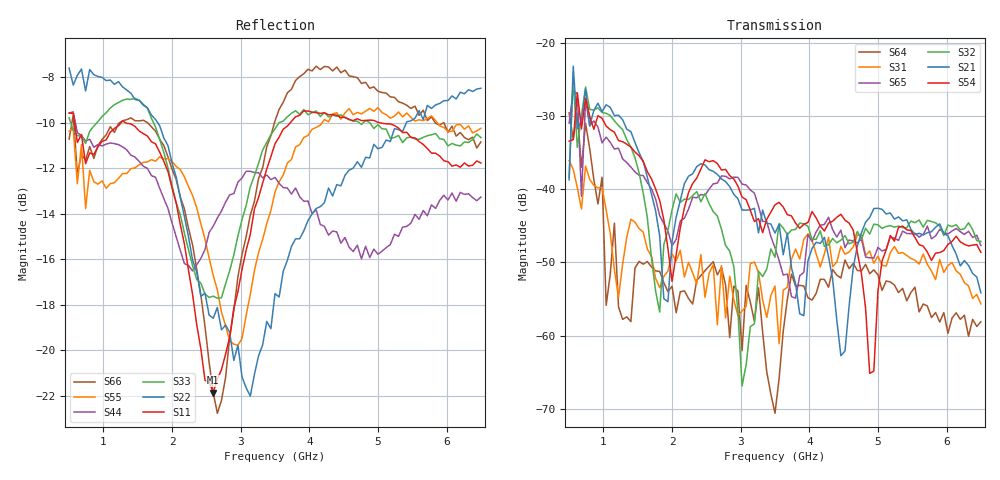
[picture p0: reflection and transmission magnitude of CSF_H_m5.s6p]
!Keysight Technologies,M9804A,MY58100912,A.14.10.03
!Date: Thursday, April 27, 2023 10:28:33
!Correction: S11(C  6-Port  )
!S12(C  6-Port  )
!S13(C  6-Port  )
!S14(C  6-Port  )
!S15(C  6-Port  )
!S16(C  6-Port  )
!S21(C  6-Port  )
!S22(C  6-Port  )
!S23(C  6-Port  )
!S24(C  6-Port  )
!S25(C  6-Port  )
!S26(C  6-Port  )
!S31(C  6-Port  )
!S32(C  6-Port  )
!S33(C  6-Port  )
!S34(C  6-Port  )
!S35(C  6-Port  )
!S36(C  6-Port  )
!S41(C  6-Port  )
!S42(C  6-Port  )
!S43(C  6-Port  )
!S44(C  6-Port  )
!S45(C  6-Port  )
!S46(C  6-Port  )
!S51(C  6-Port  )
!S52(C  6-Port  )
!S53(C  6-Port  )
!S54(C  6-Port  )
!S55(C  6-Port  )
!S56(C  6-Port  )
!S61(C  6-Port  )
!S62(C  6-Port  )
!S63(C  6-Port  )
!S64(C  6-Port  )
!S65(C  6-Port  )
!S66(C  6-Port  )
!S6P File: Measurement: :
# Hz S  RI  R 50
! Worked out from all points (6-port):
!   101 points, 500 MHz to 6.5 GHz, reference 50 ohm
!   strongest paths, dB at 500 MHz, 2 GHz, 3.5 GHz, 5 GHz, 6.5 GHz:
!     S54: -33.5, -52.6, -42.1, -53.9, -48.6
!     S21: -38.7, -47.1, -46.0, -42.6, -54.2
!     S32: -38.4, -42.8, -49.3, -44.9, -47.1
!     S65: -31.0, -47.7, -48.0, -48.0, -47.7
!     S31: -36.1, -48.9, -53.2, -49.2, -55.7
!     S64: -29.6, -53.3, -70.6, -51.7, -58.1
!   lowest |S11| = -21.9 dB at 2.6 GHz (marker M1), VSWR 1.18, Z = 42.8 + j1.96 ohm
!   |S11| at or under -10 dB: 579.2 MHz to 1.26 GHz (680.3 MHz wide, 74 % of centre); 1.321 GHz to 3.724 GHz (2.403 GHz wide, 95.3 % of centre); 5.017 GHz to end of sweep
